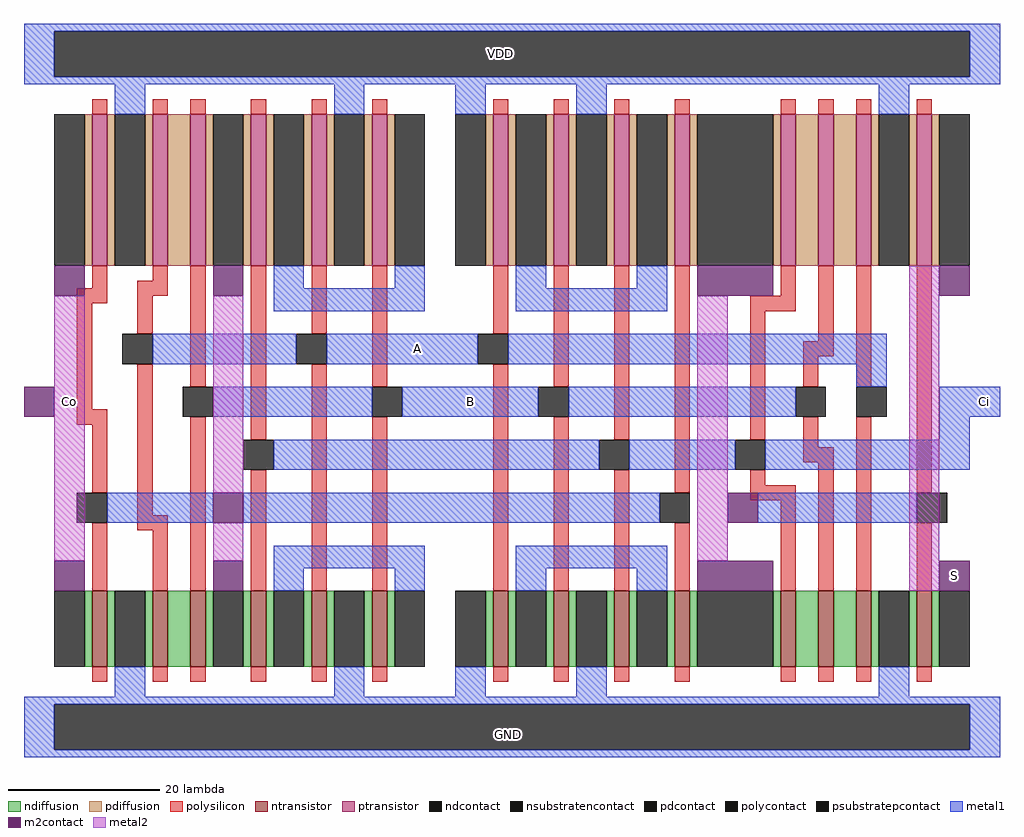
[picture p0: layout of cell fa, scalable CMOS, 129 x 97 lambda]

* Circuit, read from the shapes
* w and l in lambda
.subckt fa A B Ci Co GND S VDD
M1 GND n1 Co GND nfet w=10 l=2
M2 n2 A GND GND nfet w=10 l=2
M3 n1 B n2 GND nfet w=10 l=2
M4 n3 Ci n1 GND nfet w=10 l=2
M5 GND A n3 GND nfet w=10 l=2
M6 n3 B GND GND nfet w=10 l=2
M7 n4 A GND GND nfet w=10 l=2
M8 GND B n4 GND nfet w=10 l=2
M9 n4 Ci GND GND nfet w=10 l=2
M10 n5 n1 n4 GND nfet w=10 l=2
M11 n6 Ci n5 GND nfet w=10 l=2
M12 n7 B n6 GND nfet w=10 l=2
M13 GND A n7 GND nfet w=10 l=2
M14 S n5 GND GND nfet w=10 l=2
M15 VDD n1 Co VDD pfet w=20 l=2
M16 n8 A VDD VDD pfet w=20 l=2
M17 n1 B n8 VDD pfet w=20 l=2
M18 n9 Ci n1 VDD pfet w=20 l=2
M19 VDD A n9 VDD pfet w=20 l=2
M20 n9 B VDD VDD pfet w=20 l=2
M21 n10 A VDD VDD pfet w=20 l=2
M22 VDD B n10 VDD pfet w=20 l=2
M23 n10 Ci VDD VDD pfet w=20 l=2
M24 n5 n1 n10 VDD pfet w=20 l=2
M25 n11 Ci n5 VDD pfet w=20 l=2
M26 n12 B n11 VDD pfet w=20 l=2
M27 VDD A n12 VDD pfet w=20 l=2
M28 S n5 VDD VDD pfet w=20 l=2
.ends

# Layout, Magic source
magic
tech scmos
<< ntransistor >>
rect -12 19 -10 29
rect -4 19 -2 29
rect 1 19 3 29
rect 9 19 11 29
rect 17 19 19 29
rect 25 19 27 29
rect 41 19 43 29
rect 49 19 51 29
rect 57 19 59 29
rect 65 19 67 29
rect 79 19 81 29
rect 84 19 86 29
rect 89 19 91 29
rect 97 19 99 29
<< ptransistor >>
rect -12 72 -10 92
rect -4 72 -2 92
rect 1 72 3 92
rect 9 72 11 92
rect 17 72 19 92
rect 25 72 27 92
rect 41 72 43 92
rect 49 72 51 92
rect 57 72 59 92
rect 65 72 67 92
rect 79 72 81 92
rect 84 72 86 92
rect 89 72 91 92
rect 97 72 99 92
<< ndiffusion >>
rect -13 19 -12 29
rect -10 19 -9 29
rect -5 19 -4 29
rect -2 19 1 29
rect 3 19 4 29
rect 8 19 9 29
rect 11 19 12 29
rect 16 19 17 29
rect 19 19 20 29
rect 24 19 25 29
rect 27 19 28 29
rect 40 19 41 29
rect 43 19 44 29
rect 48 19 49 29
rect 51 19 52 29
rect 56 19 57 29
rect 59 19 60 29
rect 64 19 65 29
rect 67 19 68 29
rect 78 19 79 29
rect 81 19 84 29
rect 86 19 89 29
rect 91 19 92 29
rect 96 19 97 29
rect 99 19 100 29
<< pdiffusion >>
rect -13 72 -12 92
rect -10 72 -9 92
rect -5 72 -4 92
rect -2 72 1 92
rect 3 72 4 92
rect 8 72 9 92
rect 11 72 12 92
rect 16 72 17 92
rect 19 72 20 92
rect 24 72 25 92
rect 27 72 28 92
rect 40 72 41 92
rect 43 72 44 92
rect 48 72 49 92
rect 51 72 52 92
rect 56 72 57 92
rect 59 72 60 92
rect 64 72 65 92
rect 67 72 68 92
rect 78 72 79 92
rect 81 72 84 92
rect 86 72 89 92
rect 91 72 92 92
rect 96 72 97 92
rect 99 72 100 92
<< ndcontact >>
rect -17 19 -13 29
rect -9 19 -5 29
rect 4 19 8 29
rect 12 19 16 29
rect 20 19 24 29
rect 28 19 32 29
rect 36 19 40 29
rect 44 19 48 29
rect 52 19 56 29
rect 60 19 64 29
rect 68 19 78 29
rect 92 19 96 29
rect 100 19 104 29
<< pdcontact >>
rect -17 72 -13 92
rect -9 72 -5 92
rect 4 72 8 92
rect 12 72 16 92
rect 20 72 24 92
rect 28 72 32 92
rect 36 72 40 92
rect 44 72 48 92
rect 52 72 56 92
rect 60 72 64 92
rect 68 72 78 92
rect 92 72 96 92
rect 100 72 104 92
<< psubstratepcontact >>
rect -17 8 104 14
<< nsubstratencontact >>
rect -17 97 104 103
<< polysilicon >>
rect -12 92 -10 94
rect -4 92 -2 94
rect 1 92 3 94
rect 9 92 11 94
rect 17 92 19 94
rect 25 92 27 94
rect 41 92 43 94
rect 49 92 51 94
rect 57 92 59 94
rect 65 92 67 94
rect 79 92 81 94
rect 84 92 86 94
rect 89 92 91 94
rect 97 92 99 94
rect -12 69 -10 72
rect -4 70 -2 72
rect -14 67 -10 69
rect -6 68 -2 70
rect -14 53 -12 67
rect -6 63 -4 68
rect -14 51 -10 53
rect -12 42 -10 51
rect -12 29 -10 38
rect -6 39 -4 59
rect 1 56 3 72
rect -6 37 -2 39
rect -4 29 -2 37
rect 1 29 3 52
rect 9 49 11 72
rect 17 63 19 72
rect 9 29 11 45
rect 17 29 19 59
rect 25 56 27 72
rect 41 63 43 72
rect 25 29 27 52
rect 41 29 43 59
rect 49 56 51 72
rect 49 29 51 52
rect 57 49 59 72
rect 57 29 59 45
rect 65 42 67 72
rect 79 68 81 72
rect 75 66 81 68
rect 75 49 77 66
rect 84 62 86 72
rect 82 60 86 62
rect 82 56 84 60
rect 89 56 91 72
rect 82 48 84 52
rect 82 46 86 48
rect 75 43 77 45
rect 75 41 81 43
rect 65 29 67 38
rect 79 29 81 41
rect 84 29 86 46
rect 89 29 91 52
rect 97 42 99 72
rect 97 29 99 38
rect -12 17 -10 19
rect -4 17 -2 19
rect 1 17 3 19
rect 9 17 11 19
rect 17 17 19 19
rect 25 17 27 19
rect 41 17 43 19
rect 49 17 51 19
rect 57 17 59 19
rect 65 17 67 19
rect 79 17 81 19
rect 84 17 86 19
rect 89 17 91 19
rect 97 17 99 19
<< polycontact >>
rect -8 59 -4 63
rect -14 38 -10 42
rect 0 52 4 56
rect 15 59 19 63
rect 8 45 12 49
rect 39 59 43 63
rect 25 52 29 56
rect 47 52 51 56
rect 55 45 59 49
rect 81 52 85 56
rect 89 52 93 56
rect 73 45 77 49
rect 63 38 67 42
rect 97 38 101 42
<< metal1 >>
rect -21 103 108 104
rect -21 97 -17 103
rect 104 97 108 103
rect -21 96 108 97
rect -9 92 -5 96
rect 20 92 24 96
rect 36 92 40 96
rect 52 92 56 96
rect 92 92 96 96
rect 12 69 16 72
rect 28 69 32 72
rect 12 66 32 69
rect 44 69 48 72
rect 60 69 64 72
rect 44 66 64 69
rect -4 59 15 63
rect 19 59 39 63
rect 43 59 93 63
rect 89 56 93 59
rect 4 52 25 56
rect 29 52 47 56
rect 51 52 81 56
rect 100 52 108 56
rect 100 49 104 52
rect 12 45 55 49
rect 59 45 73 49
rect 77 45 104 49
rect -10 38 4 42
rect 8 38 63 42
rect 76 38 97 42
rect 12 32 32 35
rect 12 29 16 32
rect 28 29 32 32
rect 44 32 64 35
rect 44 29 48 32
rect 60 29 64 32
rect -9 15 -5 19
rect 20 15 24 19
rect 36 15 40 19
rect 52 15 56 19
rect 92 15 96 19
rect -21 14 108 15
rect -21 8 -17 14
rect 104 8 108 14
rect -21 7 108 8
<< m2contact >>
rect -17 68 -13 72
rect 4 68 8 72
rect 68 68 78 72
rect 100 68 104 72
rect -21 52 -17 56
rect 4 38 8 42
rect 72 38 76 42
rect -17 29 -13 33
rect 4 29 8 33
rect 68 29 78 33
rect 100 29 104 33
<< metal2 >>
rect -17 33 -13 68
rect 4 42 8 68
rect 4 33 8 38
rect 68 33 72 68
rect 96 29 100 72
<< labels >>
rlabel nsubstratencontact 42 100 42 100 0 VDD
rlabel m2contact 102 31 102 31 0 S
rlabel metal2 -15 54 -15 54 0 Co
rlabel metal1 38 54 38 54 0 B
rlabel metal1 31 61 31 61 0 A
rlabel metal1 106 54 106 54 0 Ci
rlabel psubstratepcontact 43 10 43 10 0 GND
<< end >>
